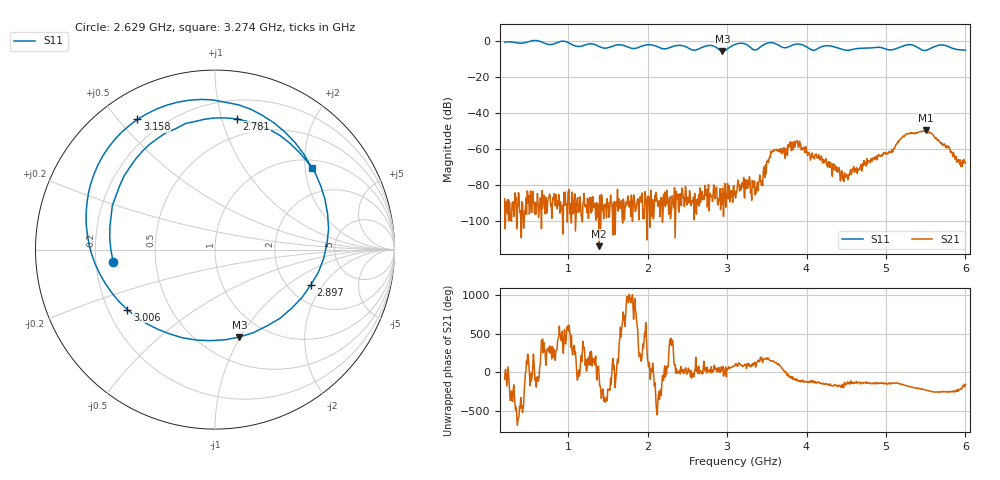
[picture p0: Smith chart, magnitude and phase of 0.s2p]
! NanoVNA-App by OneOfEleven et al v1.1.209 (+OD15)
! Date: 2024-07-30 15:23:58
! Start: 200MHz Stop: 6GHz Points: 801
! S-Parameter data: F S11 S21 S12 S22
# Hz S RI R 50
!  Frequency  S11_Real  S11_Imag  S21_Real  S21_Imag  S12_Real  S12_Imag  S22_Real  S22_Imag
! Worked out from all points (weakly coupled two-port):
!   801 points, 200 MHz to 6 GHz, reference 50 ohm
!   highest |S21| = -49.80 dB at 5.5 GHz (marker M1); lowest = -114.2 dB at 1.389 GHz (marker M2)
!   lowest |S11| = -5.9 dB at 2.941 GHz (marker M3), VSWR 3.05, Z = 37.9 - j49.5 ohm
!   |S11| at or under -10 dB: nowhere
!   S12 and S22 are empty: the file has one direction only
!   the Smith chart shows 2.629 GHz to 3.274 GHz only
!   S11 on the Smith chart (normalised r, x): 2.629 GHz: 0.27, -0.05; 2.781 GHz: 0.35, +1.12; 2.897 GHz: 2.66, -1.53; 3.006 GHz: 0.28, -0.29; 3.158 GHz: 0.11, +0.56; 3.274 GHz: 1.20, +2.17
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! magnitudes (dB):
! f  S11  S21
! 200 MHz  -0.8  -87.8
! 1.171 GHz  -3.0  -96.8
! 1.389 GHz  -3.2  -114.2
! 2.136 GHz  -3.6  -90.7
! 2.629 GHz  -4.9  -91.1
! 2.781 GHz  -2.6  -88.2
! 2.897 GHz  -4.9  -88.8
! 2.941 GHz  -5.9  -81.9
! 3.006 GHz  -4.6  -79.3
! 3.1 GHz  -2.1  -83.7
! 3.158 GHz  -1.5  -83.5
! 3.274 GHz  -3.0  -80.0
! 3.419 GHz  -3.5  -78.1
! 3.593 GHz  -1.4  -60.9
! 3.897 GHz  -1.9  -59.3
! 4.072 GHz  -5.2  -62.3
! 4.499 GHz  -5.4  -74.7
! 5.036 GHz  -5.1  -61.7
! 5.239 GHz  -2.7  -52.4
! 5.5 GHz  -5.4  -49.8
! 5.696 GHz  -2.4  -56.6
! 6 GHz  -5.3  -67.8
